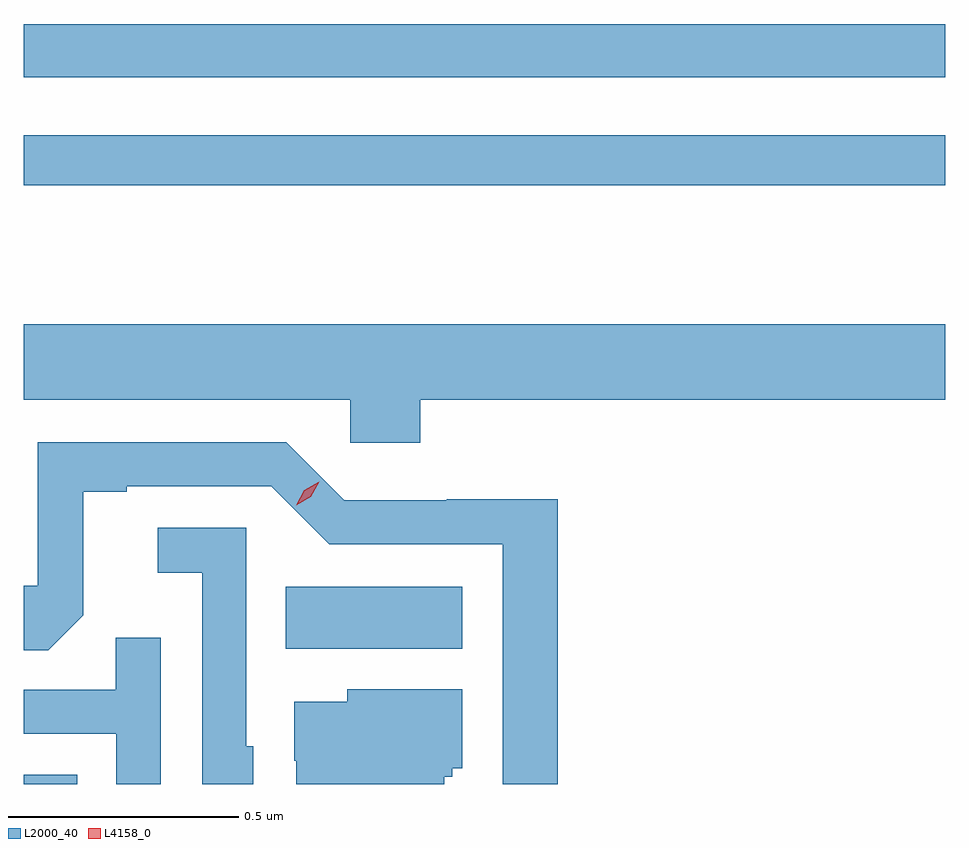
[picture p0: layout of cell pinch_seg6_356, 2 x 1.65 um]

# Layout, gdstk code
import gdstk
lib = gdstk.Library(unit=1e-6, precision=1e-09)
def R(c, l, rs):  # rectangles x0, y0, x1, y1
    for r in rs: c.add(gdstk.rectangle(r[:2], r[2:], *l))
def P(c, l, *ps):  # polygons
    for p in ps: c.add(gdstk.Polygon(p, *l))
L2000_40 = (2000, 40)
L4158_0 = (4158, 0)

pinch_seg6_356 = lib.new_cell('pinch_seg6_356')
R(pinch_seg6_356, L2000_40, [(737.31,938.51,737.426,938.53), (737.878,938.804,738.262,938.938), (737.31,939.81,739.31,939.918), (737.31,940.044,739.31,940.16)])
P(pinch_seg6_356, L2000_40, [(738.17,939.344),(739.31,939.344),(739.31,939.508),(737.31,939.508),(737.31,939.344),(738.018,939.344),(738.018,939.251),(738.17,939.251)],
  [(738.469,939.128),(738.228,939.128),(738.228,939.126),(738.006,939.126),(737.88,939.252),(737.34,939.252),(737.34,938.94),(737.31,938.94),(737.31,938.8),(737.363,938.8),(737.439,938.876),(737.439,939.144),(737.533,939.144),(737.533,939.156),(737.847,939.156),(737.973,939.03),(738.35,939.03),(738.35,938.51),(738.469,938.51)],
  [(737.808,938.592),(737.793,938.592),(737.793,939.066),(737.601,939.066),(737.601,938.969),(737.697,938.969),(737.697,938.51),(737.808,938.51)],
  [(737.607,938.828),(737.509,938.828),(737.509,938.715),(737.31,938.715),(737.31,938.619),(737.511,938.619),(737.511,938.51),(737.607,938.51)],
  [(738.223,938.526),(738.24,938.526),(738.24,938.544),(738.262,938.544),(738.262,938.716),(738.012,938.716),(738.012,938.689),(737.897,938.689),(737.897,938.56),(737.901,938.56),(737.901,938.51),(738.223,938.51)])
P(pinch_seg6_356, L4158_0, [(737.901,939.115),(737.901,939.115),(737.919,939.148),(737.951,939.166),(737.951,939.166),(737.951,939.166),(737.933,939.134),(737.901,939.115)])

lib.write_gds('pinch_seg6_356.gds')
